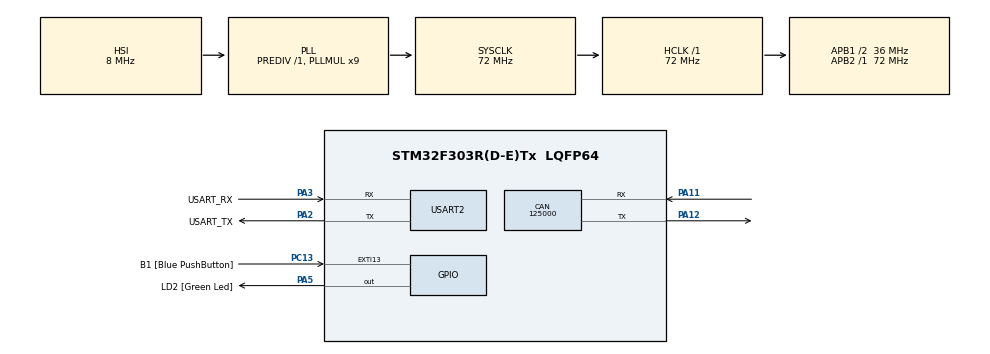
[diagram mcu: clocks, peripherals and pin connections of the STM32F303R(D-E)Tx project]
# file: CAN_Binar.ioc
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Mcu.Family=STM32F3
PA2.GPIO_PuPd=GPIO_NOPULL
RCC.CortexFreq_Value=72000000
PA14.GPIO_Label=TCK
RCC.SYSCLKSourceVirtual=RCC_SYSCLKSOURCE_PLLCLK
PA3.GPIO_PuPd=GPIO_NOPULL
PA2.GPIO_Speed=GPIO_SPEED_FREQ_LOW
PA11.Mode=CAN_Activate
PC13.GPIO_Label=B1 [Blue PushButton]
PA3.GPIO_Speed=GPIO_SPEED_FREQ_LOW
ProjectManager.StackSize=0x400
PA12.Signal=CAN_TX
RCC.HCLKFreq_Value=72000000
RCC.APB2TimFreq_Value=72000000
RCC.AHBFreq_Value=72000000
RCC.HSE_VALUE=8000000
USART2.VirtualMode-Asynchronous=VM_ASYNC
RCC.RCC_PLLsource_Clock_Source_FROM_HSE=RCC_HSE_PREDIV_DIV2
RCC.PLLMUL=RCC_PLL_MUL9
PC14-OSC32_IN.Mode=LSE-External-Oscillator
PA14.Mode=Serial_Wire
PA5.GPIO_PuPd=GPIO_NOPULL
PA0.Mode=SYS_WakeUp0
CAN.CalculateTimeQuantum=444.44444444444446
PA0.Signal=SYS_WKUP1
Mcu.Package=LQFP64
PA2.GPIO_Label=USART_TX
RCC.APB1TimFreq_Value=72000000
PF1-OSC_OUT.Signal=RCC_OSC_OUT
PA3.Signal=USART2_RX
PA2.GPIO_Mode=GPIO_MODE_AF_PP
PB3.GPIO_Label=SWO
PC15-OSC32_OUT.Mode=LSE-External-Oscillator
CAN.CalculateBaudRate=125000
PC13.Signal=GPXTI13
NVIC.USB_LP_CAN_RX0_IRQn=true\:0\:0\:false\:false\:true\:true\:true
RCC.APB1CLKDivider=RCC_HCLK_DIV2
PC14-OSC32_IN.Signal=RCC_OSC32_IN
NVIC.USART2_IRQn=true\:0\:0\:false\:false\:true\:true\:true
CAN.CalculateTimeBit=7999.99
PA13.Signal=SYS_JTMS-SWDIO
PA3.Mode=Asynchronous
CAN.BS2=CAN_BS2_5TQ
CAN.BS1=CAN_BS1_12TQ
ProjectManager.TargetToolchain=STM32CubeIDE
PA3.GPIO_Mode=GPIO_MODE_AF_PP
RCC.USBFreq_Value=72000000
PC15-OSC32_OUT.Signal=RCC_OSC32_OUT
PF0-OSC_IN.Mode=HSE-External-Clock-Source
PA5.Signal=GPIO_Output
board=NUCLEO-F303RE
RCC.APB2Freq_Value=72000000
PA13.Mode=Serial_Wire
Mcu.Name=STM32F303R(D-E)Tx
PA13.GPIO_Label=TMS
PA2.Signal=USART2_TX
PB3.Signal=SYS_JTDO-TRACESWO
RCC.SYSCLKFreq_VALUE=72000000
PA12.Mode=CAN_Activate
PA5.GPIO_Label=LD2 [Green Led]
PC13.GPIO_ModeDefaultEXTI=GPIO_MODE_IT_FALLING
PA11.Signal=CAN_RX
PA14.Signal=SYS_JTCK-SWCLK
ProjectManager.HeapSize=0x200
RCC.HSI_VALUE=8000000
RCC.PLLP=RCC_PLLP_DIV4
PA5.GPIO_Speed=GPIO_SPEED_FREQ_LOW
RCC.PLLQ=7
NVIC.PriorityGroup=NVIC_PRIORITYGROUP_0
RCC.PLLM=8
RCC.PLLN=336
PA2.Mode=Asynchronous
PF0-OSC_IN.Signal=RCC_OSC_IN
RCC.APB1Freq_Value=36000000
PA5.GPIO_Mode=GPIO_MODE_OUTPUT_PP
PA3.GPIO_Label=USART_RX

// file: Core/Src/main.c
/* USER CODE BEGIN Header */
/**
  ******************************************************************************
  * @file           : main.c
  * @brief          : Main program body
  ******************************************************************************
  * @attention
  *
  * <h2><center>&copy; Copyright (c) 2021 STMicroelectronics.
  * All rights reserved.</center></h2>
  *
  * This software component is licensed by ST under BSD 3-Clause license,
  * the "License"; You may not use this file except in compliance with the
  * License. You may obtain a copy of the License at:
  *                        opensource.org/licenses/BSD-3-Clause
  *
  ******************************************************************************
  */

                              /*  Beschreibung des Programms
                               *  Dieses Programm hat drei Hauptaufgaben
                               *  1. CAN filter Maskierung (std Id=0x80 und ID zweischen 0x200 und 0x300 sind erlaubt, Daten zu empfangen. alle anderen sollten nicht erlaubt sein
                               *  2. Einfügen des Hex Wertes(NICHT ASCII) in das Terminal über uart und Senden des empfangenen Hex Wertes über den CAN Controller.
                               *  3. den Hex Wert vom Can Controller empfangen und über uart an das Terminal senden. */

/* USER CODE END Header */
#include "main.h"
#include "stm32f3xx_hal.h"
#include "stm32f3xx_it.h"
#include <string.h>
#include<stdio.h>
#include<stdlib.h>

#define MAX 100
#define TRUE 1
#define FALSE 0

CAN_HandleTypeDef hcan;             // structure für CAN peripheral
CAN_FilterTypeDef sFilterConfig1;   // Filter Konfigurationen struktur für filter id zweishen 0x200 und 0x300
CAN_FilterTypeDef sFilterConfig2;  // Filter Konfigurationen struktur für filter id  0x80
UART_HandleTypeDef huart2;        //UART2 Konfigurationen
CAN_RxHeaderTypeDef RxHeader;     // CAN Rx message Konfigurationen

uint8_t RxDaTa[8];              // Empfangen von Datenpuffer CAN BUS
int hexbase;                    //
char *user_data = "The program is running\r\n";
	uint8_t recvd_data;
	uint8_t data_buffer[31];
    uint32_t count=0;
	uint8_t reception_complete = FALSE;
	uint8_t bin_buffer[10];

void SystemClock_Config(void);
static void MX_GPIO_Init(void);
static void MX_USART2_UART_Init(void);
static void MX_CAN_Init(void);
static void MX_NVIC_Init(void);
void convert_hexa(char* input, char* output);
void asciitobinary(char*data_buffer);

/* USER CODE BEGIN 0 */

CAN_TxHeaderTypeDef   TxHeader;
char               TxData[8];
uint32_t              TxMailbox;
uint8_t               UART_buffer[8];
uint32_t              UART_CAN_ID=0x123;
 char        buff[8];

char bin_str[20];

/* USER CODE END 0 */

int main(void)
{

  /* MCU Configuration--------------------------------------------------------*/

  /* Reset of all peripherals, Initializes the Flash interface and the Systick. */
  HAL_Init();

  /* Configure the system clock */
  SystemClock_Config();

  /* Initialize all configured peripherals */
  MX_GPIO_Init();
  MX_USART2_UART_Init();
  MX_CAN_Init();
  MX_NVIC_Init();
  /* USER CODE BEGIN 2 */
  uint16_t len_of_data = strlen(user_data);
  HAL_UART_Transmit(&huart2,(uint8_t*)user_data,len_of_data,HAL_MAX_DELAY);

  while(reception_complete != TRUE)
            	 	          	        {

    	                                    	HAL_UART_Receive_IT(&huart2,&recvd_data,1);

            	 	          	        }

  /* USER CODE END 2 */

  /* Infinite loop */
  while (1)
  {

  }
}

/*diese Funktion wird aktuell nicht verwendet */
void convert_hexa(char* input, char* output)
{
   int loop=0;
   int i=0;
   while(input[loop] != '\0'){
      sprintf((char*)(output+i),"%02X", input[loop]);
      loop+=1;
      i+=2;
   }
   //marking the end of the string
   output[i++] = '\0';
}

void HAL_UART_RxCpltCallback(UART_HandleTypeDef *huart) // Callback-Funktion für Empfangs interrupt
{
	HAL_UART_Receive_IT(&huart2,&recvd_data,1);        //  Empfangs interrupt funktion

	 if(recvd_data == '\r')                         //   wenn "Enter" gedrückt wird, ist der Empfang abgeschlossen
		 {
			 reception_complete = TRUE;

                    char *args[15];
			        int i =0; int j=0;
			        char *token = strtok(data_buffer, " \t\n"); //string aufteilen
			        while (token != NULL) {
			            args[i++] = token;                 //Sammeln der gespaltenen String
			            token = strtok(NULL, " \t\n");
			        }
			        //to print the array
			        for (j = 0; j < i; j++) {
			            printf("%s\r\n", args[j]);
			        }

			        /*  Konvertierung von string in das Hex-Format  */

			 int  hexbase0=(int) strtol (args[0],NULL,16);
			 int  hexbase1=(int) strtol (args[1],NULL,16);
			 int  hexbase2=(int) strtol (args[2],NULL,16);
			 int  hexbase3=(int) strtol (args[3],NULL,16);
			 int  hexbase4=(int) strtol (args[4],NULL,16);
			 int  hexbase5=(int) strtol (args[5],NULL,16);
			 int  hexbase6=(int) strtol (args[6],NULL,16);
			 int  hexbase7=(int) strtol (args[7],NULL,16);
			 int  hexbase8=(int) strtol (args[8],NULL,16);

			 /*Übertragung der Hex-Werte */

			 TxData[0] = hexbase1;
			 TxData[1] = hexbase2;
			 TxData[2] = hexbase3;
			 TxData[3] = hexbase4 ;
			 TxData[4] = hexbase5;
			 TxData[5] = hexbase6;
			 TxData[6] = hexbase7;
			 TxData[7] = hexbase8;

			 TxHeader.IDE = CAN_ID_STD;
			 TxHeader.StdId = hexbase0;
			 TxHeader.RTR = CAN_RTR_DATA;
			 TxHeader.DLC = 8;

			 //Übertragung der CAN Nachtricht

              if (HAL_CAN_AddTxMessage(&hcan, &TxHeader, (uint8_t*)TxData, &TxMailbox) != HAL_OK)
						 {
							 Error_Handler ();
						 }

             //HAL_UART_Transmit(huart,data_buffer,count,HAL_MAX_DELAY);
			 data_buffer[count++]='\r';

			 for(count=10; count>0; count--)                        //buffer leer machen
			  {
                 data_buffer[count]=0;
			  }
		 }
		 else
		 {
			 data_buffer[count++] = recvd_data;
		 }

}

/* Systemclock Konfigurationen */

void SystemClock_Config(void)
{
  RCC_OscInitTypeDef RCC_OscInitStruct = {0};
  RCC_ClkInitTypeDef RCC_ClkInitStruct = {0};
  RCC_PeriphCLKInitTypeDef PeriphClkInit = {0};

  /** Initializes the RCC Oscillators according to the specified parameters
  * in the RCC_OscInitTypeDef structure.
  */
  RCC_OscInitStruct.OscillatorType = RCC_OSCILLATORTYPE_HSI;
  RCC_OscInitStruct.HSIState = RCC_HSI_ON;
  RCC_OscInitStruct.HSICalibrationValue = RCC_HSICALIBRATION_DEFAULT;
  RCC_OscInitStruct.PLL.PLLState = RCC_PLL_ON;
  RCC_OscInitStruct.PLL.PLLSource = RCC_PLLSOURCE_HSI;
  RCC_OscInitStruct.PLL.PLLMUL = RCC_PLL_MUL9;
  RCC_OscInitStruct.PLL.PREDIV = RCC_PREDIV_DIV1;
  if (HAL_RCC_OscConfig(&RCC_OscInitStruct) != HAL_OK)
  {
    Error_Handler();
  }
  /** Initializes the CPU, AHB and APB buses clocks
  */
  RCC_ClkInitStruct.ClockType = RCC_CLOCKTYPE_HCLK|RCC_CLOCKTYPE_SYSCLK
                              |RCC_CLOCKTYPE_PCLK1|RCC_CLOCKTYPE_PCLK2;
  RCC_ClkInitStruct.SYSCLKSource = RCC_SYSCLKSOURCE_PLLCLK;
  RCC_ClkInitStruct.AHBCLKDivider = RCC_SYSCLK_DIV1;
  RCC_ClkInitStruct.APB1CLKDivider = RCC_HCLK_DIV2;
  RCC_ClkInitStruct.APB2CLKDivider = RCC_HCLK_DIV1;

  if (HAL_RCC_ClockConfig(&RCC_ClkInitStruct, FLASH_LATENCY_2) != HAL_OK)
  {
    Error_Handler();
  }
  PeriphClkInit.PeriphClockSelection = RCC_PERIPHCLK_USART2;
  PeriphClkInit.Usart2ClockSelection = RCC_USART2CLKSOURCE_PCLK1;
  if (HAL_RCCEx_PeriphCLKConfig(&PeriphClkInit) != HAL_OK)
  {
    Error_Handler();
  }
}

 /*CAN Initialisierung */
static void MX_CAN_Init(void)
{

  hcan.Instance = CAN;
  hcan.Init.Prescaler = 16;
  hcan.Init.Mode = CAN_MODE_NORMAL;
  hcan.Init.SyncJumpWidth = CAN_SJW_1TQ;
  hcan.Init.TimeSeg1 = CAN_BS1_12TQ;
  hcan.Init.TimeSeg2 = CAN_BS2_5TQ;
  hcan.Init.TimeTriggeredMode = DISABLE;
  hcan.Init.AutoBusOff = DISABLE;
  hcan.Init.AutoWakeUp = DISABLE;
  hcan.Init.AutoRetransmission = DISABLE;
  hcan.Init.ReceiveFifoLocked = DISABLE;
  hcan.Init.TransmitFifoPriority = DISABLE;
  if (HAL_CAN_Init(&hcan) != HAL_OK)
  {
    Error_Handler();
  }
  /* USER CODE BEGIN CAN_Init 2 */

// Filter bank 1  Konfigurationen

  sFilterConfig1.FilterMode = CAN_FILTERMODE_IDMASK;
  sFilterConfig1.FilterScale = CAN_FILTERSCALE_32BIT;
  sFilterConfig1.FilterBank = 1;
  sFilterConfig1.FilterIdHigh=0x200<<5;
  sFilterConfig1.FilterMaskIdHigh=0x300<<5;
  sFilterConfig1.FilterIdLow = 0x0000;
  sFilterConfig1.FilterMaskIdLow = 0x0000;
  sFilterConfig1.FilterFIFOAssignment = CAN_RX_FIFO0;
  sFilterConfig1.FilterActivation = ENABLE;

  //Filter bank 2   Konfigurationen

    sFilterConfig2.FilterMode = CAN_FILTERMODE_IDMASK;
    sFilterConfig2.FilterScale = CAN_FILTERSCALE_32BIT;
    sFilterConfig2.FilterBank = 2;
    sFilterConfig2.FilterIdHigh=0x80<<5;
    sFilterConfig2.FilterMaskIdHigh=0xff<<5;
    sFilterConfig2.FilterIdLow = 0x0000;
    sFilterConfig2.FilterMaskIdLow = 0x0000;
    sFilterConfig2.FilterFIFOAssignment = CAN_RX_FIFO0;
    sFilterConfig2.FilterActivation = ENABLE;

if (HAL_CAN_ActivateNotification(&hcan, CAN_IT_RX_FIFO0_MSG_PENDING) != HAL_OK)		// Enable FIFO0 data interrupt reception
          	{
          		Error_Handler();
          	}

      if (HAL_CAN_ConfigFilter(&hcan, &sFilterConfig1) != HAL_OK)        //Filter bank 1 Initialisierung
        {
          Error_Handler();
        }

      if (HAL_CAN_ConfigFilter(&hcan, &sFilterConfig2) != HAL_OK)      //Filter bank 2 Initialisierung
             {
               Error_Handler();
             }
    /* USER CODE BEGIN CAN_Init 2 */

      	if (HAL_CAN_Start(&hcan) != HAL_OK)
      	     	{
      	     		Error_Handler();
      	     	}

  /* USER CODE END CAN_Init 2 */

}

/* Interrupt konfiguration */
static void MX_NVIC_Init(void)
{

	  /* EXTI interrupt init*/
   HAL_NVIC_SetPriority(EXTI15_10_IRQn, 0, 0);
   HAL_NVIC_EnableIRQ(EXTI15_10_IRQn);
   /*CAN1_RX0_IRQn interrupt configuration*/
   HAL_NVIC_SetPriority(CAN_RX0_IRQn, 0, 0);
   HAL_NVIC_EnableIRQ(CAN_RX0_IRQn);
}
 /*diese Funktion wird aktuell nicht verwendet */
void asciitobinary(char*data_buffer)
{
	int i=0;
	while(i<10)
	{
		int j;
		int m[8];
		for(j=0;j<8;j++)
		{
			m[j]=data_buffer[i]%2;
			data_buffer[i]=data_buffer[i]/2;
		}

		int top,bottom;
		for(bottom=0,top=7;bottom<8;bottom++,top--)
		{
			bin_buffer[i]=m[top];
		}
		i++;
	}

}

/*USART2 Initialization Function*/
static void MX_USART2_UART_Init(void)
{

  huart2.Instance = USART2;
  huart2.Init.BaudRate = 115200;
  huart2.Init.WordLength = UART_WORDLENGTH_8B;
  huart2.Init.StopBits = UART_STOPBITS_1;
  huart2.Init.Parity = UART_PARITY_NONE;
  huart2.Init.Mode = UART_MODE_TX_RX;
  huart2.Init.HwFlowCtl = UART_HWCONTROL_NONE;
  huart2.Init.OverSampling = UART_OVERSAMPLING_16;
  huart2.Init.OneBitSampling = UART_ONE_BIT_SAMPLE_DISABLE;
  huart2.AdvancedInit.AdvFeatureInit = UART_ADVFEATURE_NO_INIT;
  if (HAL_UART_Init(&huart2) != HAL_OK)
  {
    Error_Handler();
  }

}

static void MX_GPIO_Init(void)
{
  GPIO_InitTypeDef GPIO_InitStruct = {0};

  /* GPIO Ports Clock Enable */
  __HAL_RCC_GPIOC_CLK_ENABLE();
  __HAL_RCC_GPIOF_CLK_ENABLE();
  __HAL_RCC_GPIOA_CLK_ENABLE();
  __HAL_RCC_GPIOB_CLK_ENABLE();

  /*Configure GPIO pin Output Level */
  HAL_GPIO_WritePin(LD2_GPIO_Port, LD2_Pin, GPIO_PIN_RESET);

  /*Configure GPIO pin : B1_Pin */
  GPIO_InitStruct.Pin = B1_Pin;
  GPIO_InitStruct.Mode = GPIO_MODE_IT_FALLING;
  GPIO_InitStruct.Pull = GPIO_NOPULL;
  HAL_GPIO_Init(B1_GPIO_Port, &GPIO_InitStruct);

  /*Configure GPIO pin : LD2_Pin */
  GPIO_InitStruct.Pin = LD2_Pin;
  GPIO_InitStruct.Mode = GPIO_MODE_OUTPUT_PP;
  GPIO_InitStruct.Pull = GPIO_NOPULL;
  GPIO_InitStruct.Speed = GPIO_SPEED_FREQ_LOW;
  HAL_GPIO_Init(LD2_GPIO_Port, &GPIO_InitStruct);

}

/* USER CODE BEGIN 4 */

int __io_putchar(int ch)
{
 uint8_t c[1];
 c[0] = ch & 0x00FF;
 HAL_UART_Transmit(&huart2, &*c, 1, 10);
 return ch;
}

int _write(int file,char *ptr, int len)
{
 int DataIdx;
 for(DataIdx= 0; DataIdx< len; DataIdx++)
 {
 __io_putchar(*ptr++);
 }
return len;
}
/*Callback function für CAN empfang interrupt */
void HAL_CAN_RxFifo0MsgPendingCallback(CAN_HandleTypeDef *hcan)
{

	//char msg[50];

	if(HAL_CAN_GetRxMessage(hcan,CAN_RX_FIFO0,&RxHeader,RxDaTa) != HAL_OK)
	{
		Error_Handler();
	}

	     uint16_t ID = RxHeader.StdId;

	    printf("ID in Hexadecimal :%x\r\n",ID);
	    printf("Message received in Hexadecimal :\r\n");
		printf("first   byte : %x\r\n",RxDaTa[0]);
		printf("second  byte : %x\r\n",RxDaTa[1]);
		printf("third   byte : %x\r\n",RxDaTa[2]);
		printf("fourth  byte : %x\r\n",RxDaTa[3]);
		printf("fifth   byte : %x\r\n",RxDaTa[4]);
		printf("sixth   byte : %x\r\n",RxDaTa[5]);
		printf("seventh byte : %x\r\n",RxDaTa[6]);
		printf("eighth  byte : %x\r\n",RxDaTa[7]);
		//printf("Message received in Binary :\r\n");

		//Hextobin(hex_str);

}

/* USER CODE END 4 */

void Error_Handler(void)
{
  __disable_irq();
  while (1)
  {
  }
}

/************************ (C) COPYRIGHT STMicroelectronics *****END OF FILE****/
